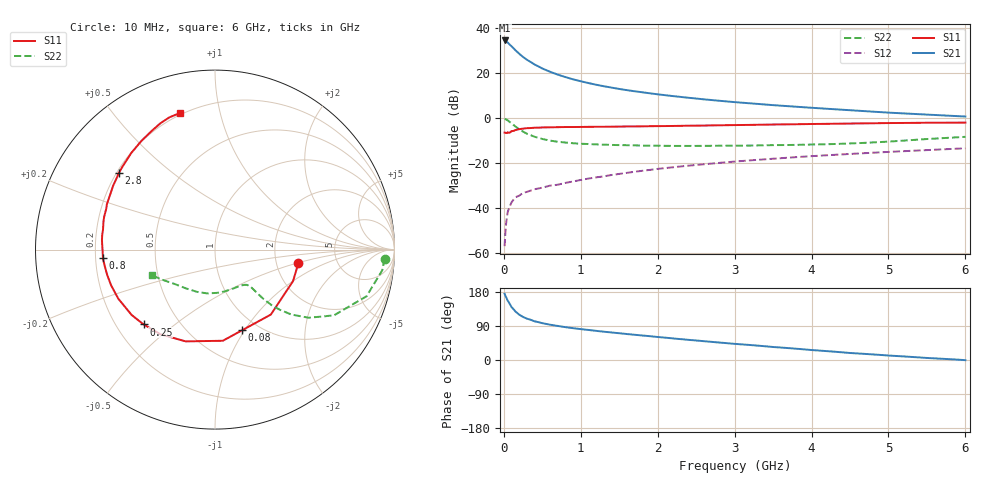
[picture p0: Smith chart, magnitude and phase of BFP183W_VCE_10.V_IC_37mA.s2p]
! Infineon Technologies  Discrete & RF Semiconductors
! BFP183W
! VCE =  10. V,  IC =  37 mA
! Common Emitter S-Parameters:  Jan 2017
# GHz  S  MA  R  50
!  f  S11  S21  S12  S22
! GHz  MAG  ANG  MAG  ANG  MAG  ANG  MAG  ANG
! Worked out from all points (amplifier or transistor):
!   77 points, 10 MHz to 6 GHz, reference 50 ohm
!   highest |S21| = 34.4 dB at 10 MHz (marker M1)
!   |S21| within 3 dB of that: start of sweep to 112.3 MHz
!   unconditionally stable (mu >= 1): 974.2 MHz to 3.602 GHz
!   at 130 MHz: K = 0.35, MSG = 33.5 dB, |S12| = -36.2 dB
!   at 2.2 GHz: K = 1.08, MAG = 14.1 dB, |S12| = -22.0 dB
!   at 6 GHz: K = 0.86, MSG = 7.1 dB, |S12| = -13.5 dB
!   S11 on the Smith chart (normalised r, x): 10 MHz: 2.66, -0.52; 80 MHz: 0.84, -0.97; 250 MHz: 0.31, -0.39; 800 MHz: 0.23, -0.04; 2.8 GHz: 0.21, +0.34; 6 GHz: 0.19, +0.76
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0.01  0.4708 -9.2  52.78 174.8  0.0014 75.6  0.9463 -3.1
0.02  0.4689 -22.0  51.85 169.5  0.0028 79.6  0.9394 -7.0
0.05  0.4774 -49.3  47.61 156.5  0.008 70.9  0.8836 -17.1
0.08  0.4741 -71.5  42.13 147.0  0.0111 64.7  0.8033 -23.8
0.1  0.5098 -85.1  39.26 139.4  0.0132 62.2  0.7569 -29.0
0.15  0.5368 -107.7  32.03 128.1  0.0171 54.8  0.644 -36.1
0.2  0.5613 -122.8  26.7 119.7  0.0186 51.4  0.558 -40.4
0.25  0.5764 -133.7  22.65 113.6  0.0215 49.7  0.4944 -42.8
0.3  0.5902 -141.9  19.61 109.1  0.0226 47.9  0.4447 -44.4
0.4  0.6042 -153.1  15.4 102.1  0.0259 48.3  0.3794 -45.6
0.5  0.6121 -161.1  12.55 97.2  0.028 48.7  0.3394 -45.9
0.6  0.6172 -166.9  10.63 93.2  0.0311 51.0  0.3126 -46.0
0.8  0.6262 -175.6  8.095 86.7  0.0358 55.0  0.2831 -46.4
0.9  0.6261 -179.1  7.203 84.0  0.0385 56.4  0.2729 -47.1
1.1  0.6322 175.0  5.952 79.3  0.0447 58.1  0.2619 -48.6
1.5  0.6412 165.6  4.404 70.6  0.0567 60.6  0.2479 -53.8
2.1  0.6579 153.3  3.196 58.9  0.0765 60.9  0.239 -65.3
2.8  0.6848 141.5  2.404 46.1  0.0997 58.9  0.2402 -82.4
3.1  0.6948 136.9  2.175 41.1  0.11 57.8  0.2417 -90.0
4.1  0.734 123.0  1.637 24.9  0.1441 52.5  0.2574 -115.8
5.1  0.7691 112.4  1.283 10.6  0.1783 46.5  0.3043 -142.3
6  0.7857 104.3  1.072 -0.4  0.2105 40.3  0.3788 -157.7
